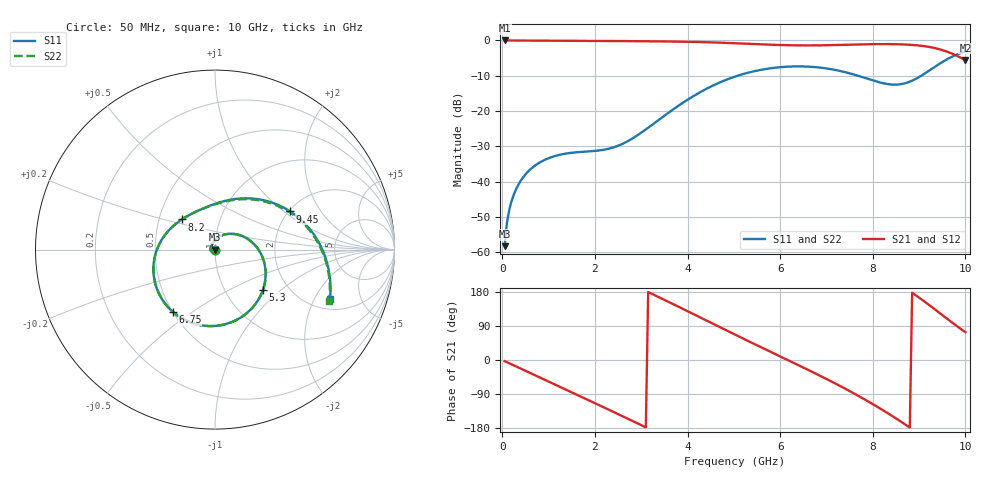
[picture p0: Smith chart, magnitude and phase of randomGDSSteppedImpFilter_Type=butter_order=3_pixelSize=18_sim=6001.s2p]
! freq	dB(S11)	phase(S11)	dB(S12)	phase(S12)
!  dB(S21)	phase(S21)	dB(S22)	phase(S22)
!S-par simulation data
#  GHz  S  DB  R 50
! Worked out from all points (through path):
!   200 points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, 50 MHz to 10 GHz, reference 50 ohm
!   highest |S21| = 0.00 dB at 50 MHz (marker M1); lowest = -5.6 dB at 10 GHz (marker M2)
!   group delay of S21, straight-line fit = 173 ps
!   lowest |S11| = -58.3 dB at 50 MHz (marker M3), VSWR 1.00, Z = 50 - j0.115 ohm
!   |S11| at or under -10 dB: start of sweep to 5.083 GHz; 7.678 GHz to 9.048 GHz (1.37 GHz wide, 16.4 % of centre)
!   |S22| runs from -58.3 to -3.1 dB; largest |S21 - S12| = 0
!   S11 on the Smith chart (normalised r, x): 50 MHz: 1.00, -0.00; 5.3 GHz: 1.50, -0.76; 6.75 GHz: 0.50, -0.42; 8.2 GHz: 0.66, +0.24; 9.45 GHz: 2.04, +1.11; 10 GHz: 2.51, -2.69
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0.05  -58.33 -71.3  -0.00 -2.9  -0.00 -2.9  -58.34 -71.3
0.1  -51.70 -84.2  -0.01 -5.8  -0.01 -5.8  -51.71 -84.3
0.2  -45.56 -96.1  -0.02 -11.4  -0.02 -11.4  -45.56 -96.3
0.5  -37.99 -118.1  -0.04 -28.4  -0.04 -28.4  -37.99 -118.5
1.15  -32.73 -157.7  -0.08 -65.4  -0.08 -65.4  -32.72 -158.9
1.75  -31.56 166.4  -0.12 -99.6  -0.12 -99.6  -31.55 164.4
2.2  -30.97 139.6  -0.15 -125.4  -0.15 -125.4  -30.94 137.1
2.65  -28.98 114.0  -0.18 -151.4  -0.18 -151.4  -28.95 111.8
3.4  -22.31 71.4  -0.26 164.7  -0.26 164.7  -22.31 70.6
4.25  -14.85 22.1  -0.45 113.8  -0.45 113.8  -14.84 22.1
4.65  -12.18 -1.5  -0.60 89.7  -0.60 89.7  -12.18 -1.3
5.05  -10.14 -25.1  -0.81 65.6  -0.81 65.6  -10.14 -24.8
5.3  -9.17 -39.8  -0.95 50.7  -0.95 50.7  -9.17 -39.4
6  -7.58 -80.4  -1.30 9.5  -1.30 9.5  -7.58 -80.0
6.7  -7.50 -121.2  -1.41 -31.8  -1.41 -31.8  -7.50 -120.8
6.75  -7.56 -124.2  -1.40 -34.8  -1.40 -34.8  -7.56 -123.8
7.55  -9.50 -174.8  -1.18 -85.2  -1.18 -85.2  -9.51 -174.5
8.2  -12.06 137.6  -1.03 -131.0  -1.03 -131.0  -12.07 137.0
8.35  -12.42 125.4  -1.04 -142.3  -1.04 -142.3  -12.43 124.5
8.9  -11.09 77.6  -1.32 173.3  -1.32 173.3  -11.08 75.8
9.45  -6.55 26.9  -2.53 123.5  -2.53 123.5  -6.54 25.4
10  -3.13 -23.2  -5.55 73.6  -5.55 73.6  -3.12 -24.2
